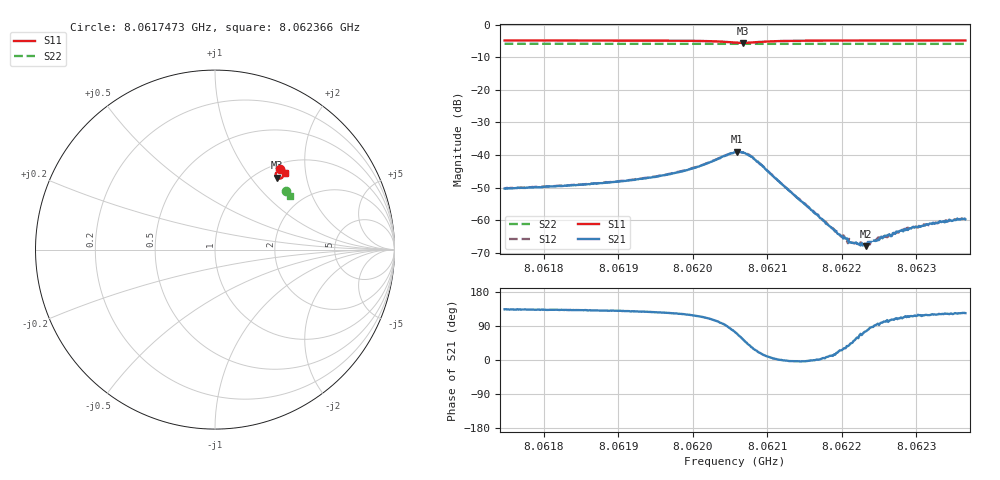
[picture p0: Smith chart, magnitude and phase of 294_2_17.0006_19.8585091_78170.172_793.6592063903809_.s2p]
#  HZ  S  RI  R  50.00
! Rohde & Schwarz Vector Network Analyzer
! Rohde-Schwarz,ZNB20-2Port,1311601062101988,3.16
! Created: UTC 3/20/2024, 11:05:13 PM
! freq[Hz]  re:S11  im:S11  re:S21  im:S21  re:S12  im:S12  re:S22  im:S22
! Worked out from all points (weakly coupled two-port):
!   401 points, 8.0617473 GHz to 8.062366 GHz, reference 50 ohm
!   highest |S21| = -39.02 dB at 8.0620598 GHz (marker M1); lowest = -68.0 dB at 8.062233 GHz (marker M2)
!   lowest |S11| = -5.5 dB at 8.0620675 GHz (marker M3), VSWR 3.24, Z = 61.1 + j68 ohm
!   |S11| at or under -10 dB: nowhere
!   |S22| runs from -5.9 to -5.8 dB; largest |S21 - S12| = 0.00081
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8.0617473e9  0.361 0.4486  -0.00211 0.0022  -0.00198 0.0024  0.3929 0.3278
8.06185094e9  0.3684 0.4423  -0.00231 0.00262  -0.00221 0.00277  0.397 0.3229
8.06195458e9  0.3767 0.4326  -0.00276 0.00382  -0.00258 0.00406  0.4011 0.3174
8.06200253e9  0.381 0.4225  -0.00288 0.00565  -0.00262 0.00591  0.4025 0.3145
8.06205666e9  0.3599 0.3955  0.00305 0.0105  0.00373 0.0103  0.4031 0.3113
8.06205976e9  0.3555 0.3958  0.00408 0.0104  0.00478 0.0101  0.403 0.311
8.06206749e9  0.345 0.4008  0.00643 0.00881  0.00706 0.0085  0.4029 0.3111
8.06208296e9  0.3377 0.4208  0.0076 0.00395  0.0079 0.00354  0.4034 0.3113
8.0621603e9  0.3677 0.4384  0.0014 -2.81e-05  0.00139 -0.000107  0.4077 0.3081
8.06219742e9  0.3735 0.4361  0.000528 0.000252  0.000565 0.000184  0.4092 0.3062
8.06220825e9  0.3749 0.4353  0.000405 0.000301  0.000376 0.000229  0.4096 0.3057
8.06221289e9  0.3754 0.4349  0.000321 0.000313  0.000346 0.000294  0.4097 0.3053
8.06222681e9  0.3769 0.4341  0.00018 0.0004  0.000193 0.000403  0.4104 0.3046
8.062233e9  0.3776 0.4337  9.53e-05 0.000385  0.000141 0.000421  0.4106 0.3042
8.06224073e9  0.3783 0.4332  2.3e-05 0.000479  3.14e-05 0.000473  0.4108 0.304
8.06224847e9  0.379 0.4328  -5.03e-05 0.000487  1.06e-05 0.000536  0.4111 0.3035
8.06226084e9  0.3802 0.432  -0.000153 0.000558  -8.79e-05 0.000537  0.4116 0.3029
8.06226394e9  0.3805 0.4317  -0.000153 0.000586  -0.000119 0.000597  0.4118 0.3028
8.06228095e9  0.3818 0.4308  -0.000241 0.000665  -0.000248 0.000661  0.4123 0.3018
8.06229796e9  0.3832 0.4298  -0.000355 0.000681  -0.000305 0.000718  0.4129 0.301
8.06233354e9  0.3858 0.4279  -0.000478 0.000798  -0.000436 0.000814  0.4143 0.2991
8.06236602e9  0.3879 0.426  -0.00057 0.000852  -0.000541 0.000943  0.4155 0.2975
